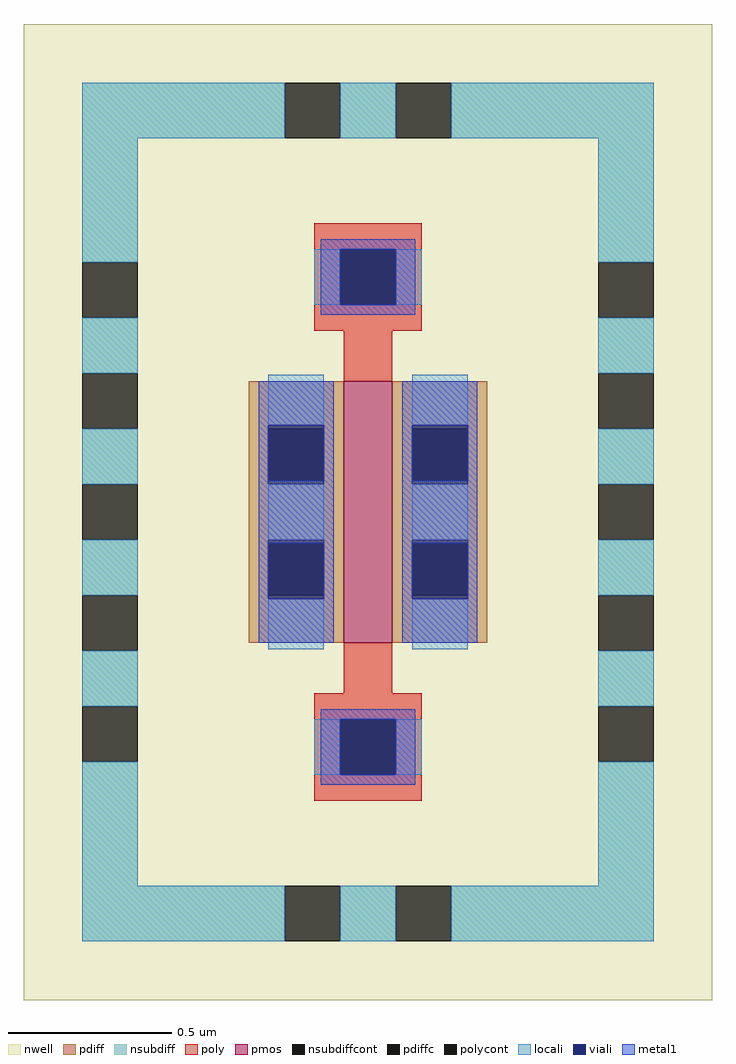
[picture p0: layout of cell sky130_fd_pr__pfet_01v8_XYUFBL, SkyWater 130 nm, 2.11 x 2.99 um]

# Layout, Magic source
magic
tech sky130A
magscale 1 2
<< nwell >>
rect -211 -299 211 299
<< pmos >>
rect -15 -80 15 80
<< pdiff >>
rect -73 51 -15 80
rect -73 17 -61 51
rect -27 17 -15 51
rect -73 -17 -15 17
rect -73 -51 -61 -17
rect -27 -51 -15 -17
rect -73 -80 -15 -51
rect 15 51 73 80
rect 15 17 27 51
rect 61 17 73 51
rect 15 -17 73 17
rect 15 -51 27 -17
rect 61 -51 73 -17
rect 15 -80 73 -51
<< pdiffc >>
rect -61 17 -27 51
rect -61 -51 -27 -17
rect 27 17 61 51
rect 27 -51 61 -17
<< nsubdiff >>
rect -175 229 -51 263
rect -17 229 17 263
rect 51 229 175 263
rect -175 153 -141 229
rect -175 85 -141 119
rect 141 153 175 229
rect 141 85 175 119
rect -175 17 -141 51
rect -175 -51 -141 -17
rect 141 17 175 51
rect 141 -51 175 -17
rect -175 -119 -141 -85
rect -175 -229 -141 -153
rect 141 -119 175 -85
rect 141 -229 175 -153
rect -175 -263 -51 -229
rect -17 -263 17 -229
rect 51 -263 175 -229
<< nsubdiffcont >>
rect -51 229 -17 263
rect 17 229 51 263
rect -175 119 -141 153
rect 141 119 175 153
rect -175 51 -141 85
rect -175 -17 -141 17
rect -175 -85 -141 -51
rect 141 51 175 85
rect 141 -17 175 17
rect 141 -85 175 -51
rect -175 -153 -141 -119
rect 141 -153 175 -119
rect -51 -263 -17 -229
rect 17 -263 51 -229
<< poly >>
rect -33 161 33 177
rect -33 127 -17 161
rect 17 127 33 161
rect -33 111 33 127
rect -15 80 15 111
rect -15 -111 15 -80
rect -33 -127 33 -111
rect -33 -161 -17 -127
rect 17 -161 33 -127
rect -33 -177 33 -161
<< polycont >>
rect -17 127 17 161
rect -17 -161 17 -127
<< locali >>
rect -175 229 -51 263
rect -17 229 17 263
rect 51 229 175 263
rect -175 153 -141 229
rect -33 127 -17 161
rect 17 127 33 161
rect 141 153 175 229
rect -175 85 -141 119
rect 141 85 175 119
rect -175 17 -141 51
rect -175 -51 -141 -17
rect -61 53 -27 84
rect -61 -17 -27 17
rect -61 -84 -27 -53
rect 27 53 61 84
rect 27 -17 61 17
rect 27 -84 61 -53
rect 141 17 175 51
rect 141 -51 175 -17
rect -175 -119 -141 -85
rect 141 -119 175 -85
rect -175 -229 -141 -153
rect -33 -161 -17 -127
rect 17 -161 33 -127
rect 141 -229 175 -153
rect -175 -263 -51 -229
rect -17 -263 17 -229
rect 51 -263 175 -229
<< viali >>
rect -17 127 17 161
rect -61 51 -27 53
rect -61 19 -27 51
rect -61 -51 -27 -19
rect -61 -53 -27 -51
rect 27 51 61 53
rect 27 19 61 51
rect 27 -51 61 -19
rect 27 -53 61 -51
rect -17 -161 17 -127
<< metal1 >>
rect -29 161 29 167
rect -29 127 -17 161
rect 17 127 29 161
rect -29 121 29 127
rect -67 53 -21 80
rect -67 19 -61 53
rect -27 19 -21 53
rect -67 -19 -21 19
rect -67 -53 -61 -19
rect -27 -53 -21 -19
rect -67 -80 -21 -53
rect 21 53 67 80
rect 21 19 27 53
rect 61 19 67 53
rect 21 -19 67 19
rect 21 -53 27 -19
rect 61 -53 67 -19
rect 21 -80 67 -53
rect -29 -127 29 -121
rect -29 -161 -17 -127
rect 17 -161 29 -127
rect -29 -167 29 -161
<< properties >>
string FIXED_BBOX -158 -246 158 246
<< end >>
